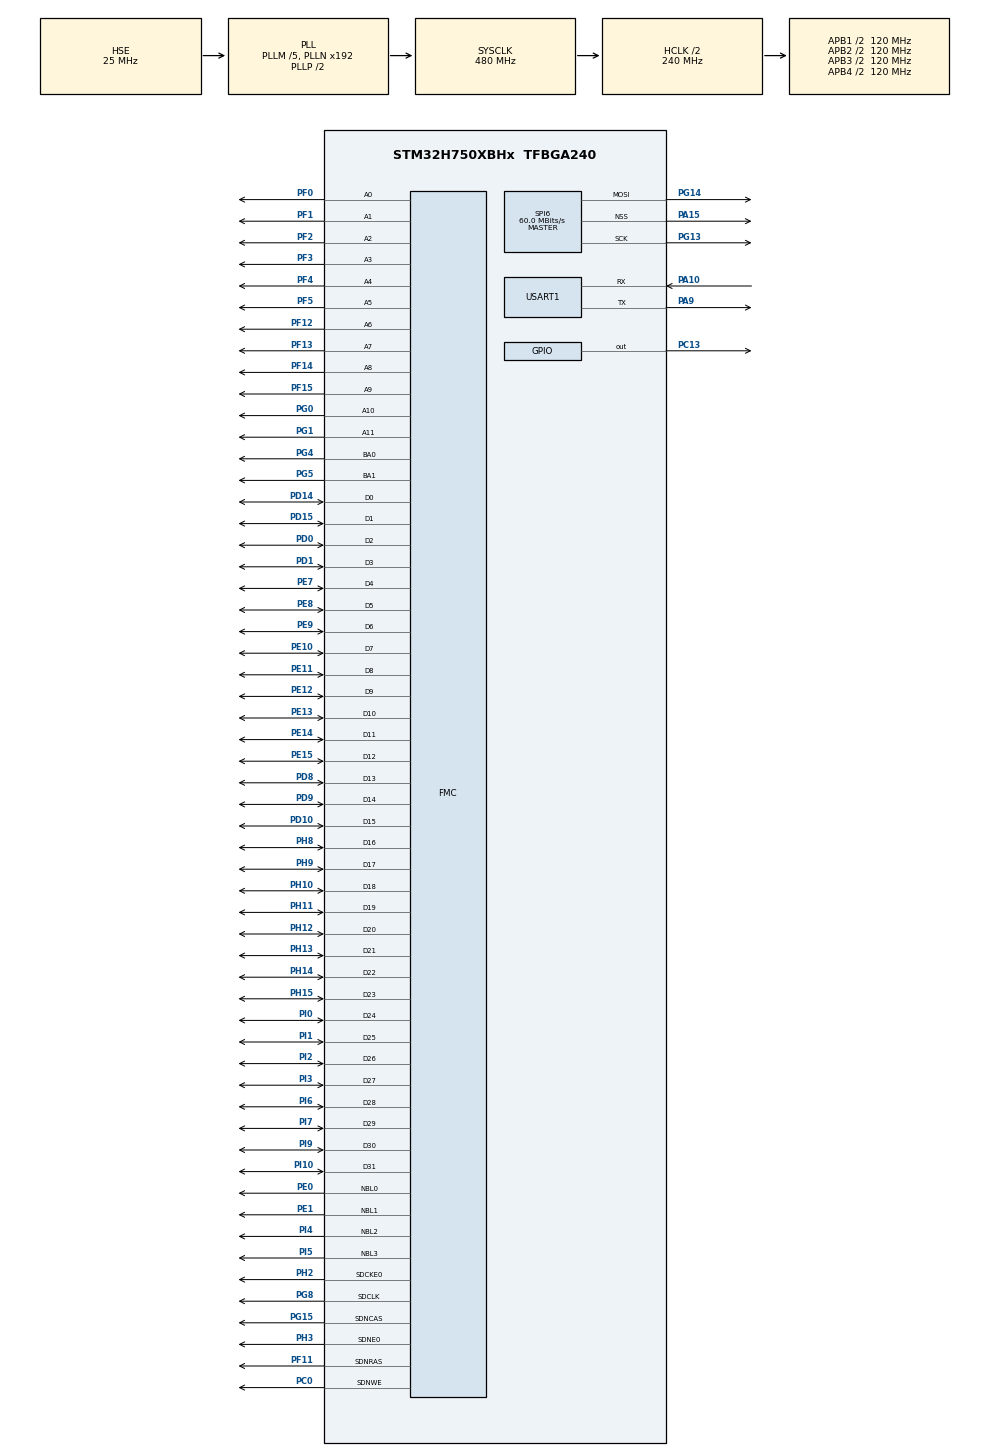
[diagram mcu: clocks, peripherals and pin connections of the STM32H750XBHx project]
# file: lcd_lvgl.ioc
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FMC.CASLatency1=FMC_SDRAM_CAS_LATENCY_3
FMC.ExitSelfRefreshDelay1=7
FMC.LoadToActiveDelay1=2
FMC.RCDDelay1=2
FMC.RPDelay1=2
FMC.RPDelay2=2
FMC.RowCycleDelay1=7
FMC.RowCycleDelay2=7
FMC.SDClockPeriod1=FMC_SDRAM_CLOCK_PERIOD_2
FMC.SDClockPeriod2=FMC_SDRAM_CLOCK_PERIOD_2
FMC.SelfRefreshTime1=4
FMC.WriteRecoveryTime1=3
FREERTOS.Tasks01=defaultTask,24,1024,StartDefaultTask,Default,NULL,Dynamic,NULL,NULL;base_lvgl_task,32,2048,lvgl_task,Default,NULL,Dynamic,NULL,NULL;lvgl_gui,25,2048,lvgl_gui1,Default,NULL,Dynamic,NULL,NULL
FREERTOS.configTOTAL_HEAP_SIZE=30720
FREERTOS.configUSE_TICK_HOOK=1
Mcu.Family=STM32H7
Mcu.Name=STM32H750XBHx
Mcu.Package=TFBGA240
NVIC.PriorityGroup=NVIC_PRIORITYGROUP_4
NVIC.TIM1_UP_IRQn=true\:15\:0\:false\:false\:true\:false\:false\:true\:true
NVIC.TimeBase=TIM1_UP_IRQn
NVIC.TimeBaseIP=TIM1
PA10.GPIO_Speed=GPIO_SPEED_FREQ_VERY_HIGH
PA10.Mode=Asynchronous
PA10.Signal=USART1_RX
PA15\ (JTDI).GPIO_Speed=GPIO_SPEED_FREQ_VERY_HIGH
PA15\ (JTDI).Mode=NSS_Signal_Hard_Output
PA15\ (JTDI).Signal=SPI6_NSS
PA9.GPIO_Speed=GPIO_SPEED_FREQ_VERY_HIGH
PA9.Mode=Asynchronous
PA9.Signal=USART1_TX
PC0.Signal=FMC_SDNWE
PC13.Signal=GPIO_Output
PD0.Signal=FMC_D2_DA2
PD1.Signal=FMC_D3_DA3
PD10.Signal=FMC_D15_DA15
PD14.Signal=FMC_D0_DA0
PD15.Signal=FMC_D1_DA1
PD8.Signal=FMC_D13_DA13
PD9.Signal=FMC_D14_DA14
PE0.Signal=FMC_NBL0
PE1.Signal=FMC_NBL1
PE10.Signal=FMC_D7_DA7
PE11.Signal=FMC_D8_DA8
PE12.Signal=FMC_D9_DA9
PE13.Signal=FMC_D10_DA10
PE14.Signal=FMC_D11_DA11
PE15.Signal=FMC_D12_DA12
PE7.Signal=FMC_D4_DA4
PE8.Signal=FMC_D5_DA5
PE9.Signal=FMC_D6_DA6
PF0.Signal=FMC_A0
PF1.Signal=FMC_A1
PF11.Signal=FMC_SDNRAS
PF12.Signal=FMC_A6
PF13.Signal=FMC_A7
PF14.Signal=FMC_A8
PF15.Signal=FMC_A9
PF2.Signal=FMC_A2
PF3.Signal=FMC_A3
PF4.Signal=FMC_A4
PF5.Signal=FMC_A5
PG0.Signal=FMC_A10
PG1.Signal=FMC_A11
PG13.GPIO_Speed=GPIO_SPEED_FREQ_VERY_HIGH
PG13.Mode=TX_Only_Simplex_Unidirect_Master
PG13.Signal=SPI6_SCK
PG14.GPIO_Speed=GPIO_SPEED_FREQ_VERY_HIGH
PG14.Mode=TX_Only_Simplex_Unidirect_Master
PG14.Signal=SPI6_MOSI
PG15.Signal=FMC_SDNCAS
PG4.Signal=FMC_A14_BA0
PG5.Signal=FMC_A15_BA1
PG8.Signal=FMC_SDCLK
PH0-OSC_IN\ (PH0).Mode=HSE-External-Oscillator
PH0-OSC_IN\ (PH0).Signal=RCC_OSC_IN
PH1-OSC_OUT\ (PH1).Mode=HSE-External-Oscillator
PH1-OSC_OUT\ (PH1).Signal=RCC_OSC_OUT
PH10.Signal=FMC_D18
PH11.Signal=FMC_D19
PH12.Signal=FMC_D20
PH13.Signal=FMC_D21
PH14.Signal=FMC_D22
PH15.Signal=FMC_D23
PH2.Mode=SdramChipSelect1_1
PH2.Signal=FMC_SDCKE0
PH3.Mode=SdramChipSelect1_1
PH3.Signal=FMC_SDNE0
PH8.Signal=FMC_D16
PH9.Signal=FMC_D17
PI0.Signal=FMC_D24
PI1.Signal=FMC_D25
PI10.Signal=FMC_D31
PI2.Signal=FMC_D26
PI3.Signal=FMC_D27
PI4.Signal=FMC_NBL2
PI5.Signal=FMC_NBL3
PI6.Signal=FMC_D28
PI7.Signal=FMC_D29
PI9.Signal=FMC_D30
ProjectManager.HeapSize=0x200
ProjectManager.StackSize=0x400
ProjectManager.TargetToolchain=CMake
RCC.ADCFreq_Value=50390625
RCC.APB1Freq_Value=120000000
RCC.APB2Freq_Value=120000000
RCC.APB3Freq_Value=120000000
RCC.APB4Freq_Value=120000000
RCC.CortexFreq_Value=480000000
RCC.D1PPRE=RCC_APB3_DIV2
RCC.D2PPRE1=RCC_APB1_DIV2
RCC.D2PPRE2=RCC_APB2_DIV2
RCC.D3PPRE=RCC_APB4_DIV2
RCC.DIVM1=5
RCC.DIVN1=192
RCC.HCLKFreq_Value=240000000
RCC.HPRE=RCC_HCLK_DIV2
RCC.PLLSourceVirtual=RCC_PLLSOURCE_HSE
RCC.SYSCLKFreq_VALUE=480000000
RCC.SYSCLKSource=RCC_SYSCLKSOURCE_PLLCLK
RCC.USBFreq_Value=480000000
SH.FMC_A0.0=FMC_A0,12b-sda1
SH.FMC_A1.0=FMC_A1,12b-sda1
SH.FMC_A10.0=FMC_A10,12b-sda1
SH.FMC_A11.0=FMC_A11,12b-sda1
SH.FMC_A14_BA0.0=FMC_BA0,FourSdramBanks1
SH.FMC_A15_BA1.0=FMC_BA1,FourSdramBanks1
SH.FMC_A2.0=FMC_A2,12b-sda1
SH.FMC_A3.0=FMC_A3,12b-sda1
SH.FMC_A4.0=FMC_A4,12b-sda1
SH.FMC_A5.0=FMC_A5,12b-sda1
SH.FMC_A6.0=FMC_A6,12b-sda1
SH.FMC_A7.0=FMC_A7,12b-sda1
SH.FMC_A8.0=FMC_A8,12b-sda1
SH.FMC_A9.0=FMC_A9,12b-sda1
SH.FMC_D0_DA0.0=FMC_D0,sd-32b-d1
SH.FMC_D10_DA10.0=FMC_D10,sd-32b-d1
SH.FMC_D11_DA11.0=FMC_D11,sd-32b-d1
SH.FMC_D12_DA12.0=FMC_D12,sd-32b-d1
SH.FMC_D13_DA13.0=FMC_D13,sd-32b-d1
SH.FMC_D14_DA14.0=FMC_D14,sd-32b-d1
SH.FMC_D15_DA15.0=FMC_D15,sd-32b-d1
SH.FMC_D16.0=FMC_D16,sd-32b-d1
SH.FMC_D17.0=FMC_D17,sd-32b-d1
SH.FMC_D18.0=FMC_D18,sd-32b-d1
SH.FMC_D19.0=FMC_D19,sd-32b-d1
SH.FMC_D1_DA1.0=FMC_D1,sd-32b-d1
SH.FMC_D20.0=FMC_D20,sd-32b-d1
SH.FMC_D21.0=FMC_D21,sd-32b-d1
SH.FMC_D22.0=FMC_D22,sd-32b-d1
SH.FMC_D23.0=FMC_D23,sd-32b-d1
SH.FMC_D24.0=FMC_D24,sd-32b-d1
SH.FMC_D25.0=FMC_D25,sd-32b-d1
SH.FMC_D26.0=FMC_D26,sd-32b-d1
SH.FMC_D27.0=FMC_D27,sd-32b-d1
SH.FMC_D28.0=FMC_D28,sd-32b-d1
SH.FMC_D29.0=FMC_D29,sd-32b-d1
SH.FMC_D2_DA2.0=FMC_D2,sd-32b-d1
SH.FMC_D30.0=FMC_D30,sd-32b-d1
SH.FMC_D31.0=FMC_D31,sd-32b-d1
SH.FMC_D3_DA3.0=FMC_D3,sd-32b-d1
SH.FMC_D4_DA4.0=FMC_D4,sd-32b-d1
SH.FMC_D5_DA5.0=FMC_D5,sd-32b-d1
SH.FMC_D6_DA6.0=FMC_D6,sd-32b-d1
SH.FMC_D7_DA7.0=FMC_D7,sd-32b-d1
SH.FMC_D8_DA8.0=FMC_D8,sd-32b-d1
SH.FMC_D9_DA9.0=FMC_D9,sd-32b-d1
SH.FMC_NBL0.0=FMC_NBL0,Sd4ByteEnable1
SH.FMC_NBL1.0=FMC_NBL1,Sd4ByteEnable1
SH.FMC_NBL2.0=FMC_NBL2,Sd4ByteEnable1
SH.FMC_NBL3.0=FMC_NBL3,Sd4ByteEnable1
SH.FMC_SDCLK.0=FMC_SDCLK,12b-sda1
SH.FMC_SDNCAS.0=FMC_SDNCAS,12b-sda1
SH.FMC_SDNRAS.0=FMC_SDNRAS,12b-sda1
SH.FMC_SDNWE.0=FMC_SDNWE,12b-sda1
SPI6.CalculateBaudRate=60.0 MBits/s
SPI6.DataSize=SPI_DATASIZE_8BIT
SPI6.Direction=SPI_DIRECTION_2LINES_TXONLY
SPI6.FifoThreshold=SPI_FIFO_THRESHOLD_02DATA
SPI6.Mode=SPI_MODE_MASTER
SPI6.VirtualNSS=VM_NSSHARD
SPI6.VirtualType=VM_MASTER
USART1.VirtualMode-Asynchronous=VM_ASYNC
VP_FREERTOS_VS_CMSIS_V2.Mode=CMSIS_V2
VP_MEMORYMAP_VS_MEMORYMAP.Mode=CurAppReg
VP_SYS_VS_tim1.Mode=TIM1
board=custom

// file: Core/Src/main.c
/* USER CODE BEGIN Header */
/**
  ******************************************************************************
  * @file           : main.c
  * @brief          : Main program body
  ******************************************************************************
  * @attention
  *
  * Copyright (c) 2025 STMicroelectronics.
  * All rights reserved.
  *
  * This software is licensed under terms that can be found in the LICENSE file
  * in the root directory of this software component.
  * If no LICENSE file comes with this software, it is provided AS-IS.
  *
  ******************************************************************************
  */
/* USER CODE END Header */
#include "main.h"
#include "cmsis_os.h"
#include "memorymap.h"
#include "spi.h"
#include "usart.h"
#include "gpio.h"
#include "fmc.h"

/* USER CODE BEGIN Includes */
#include "lcd_fonts.h"
#include "lcd_image.h"
#include "lcd_spi_200.h"
#include "sdram.h"
#include "lcd_test.h"
/* USER CODE END Includes */

void SystemClock_Config(void);
void MX_FREERTOS_Init(void);

int main(void)
{

  /* USER CODE BEGIN 1 */
  SCB_EnableICache(); // 使能ICache
  SCB_EnableDCache(); // 使能DCache
  /* USER CODE END 1 */

  /* MCU Configuration--------------------------------------------------------*/

  /* Reset of all peripherals, Initializes the Flash interface and the Systick. */
  HAL_Init();

  /* Configure the system clock */
  SystemClock_Config();

  /* Initialize all configured peripherals */
  MX_GPIO_Init();
  MX_USART1_UART_Init();
  MX_SPI6_Init();
  MX_FMC_Init();
  /* USER CODE BEGIN 2 */

  SDRAM_Initialization_Sequence(&hsdram1); // SDRAM初始化
  SDRAM_Test(); // SDRAM测试
  SPI_LCD_Init(); // LCD初始化

  /* lcd测试函数 */
  LCD_Clear(); // 清屏
  LCD_Test_Clear();
  LCD_Test_Text();
  LCD_Test_Color();
  LCD_Test_Grahic();
  LCD_Test_Image();
  LCD_Test_Direction();
  LCD_Test_Variable();

  /* USER CODE END 2 */

  /* Init scheduler */
  osKernelInitialize();

  /* Call init function for freertos objects (in cmsis_os2.c) */
  MX_FREERTOS_Init();

  /* Start scheduler */
  osKernelStart();

  /* We should never get here as control is now taken by the scheduler */

  /* Infinite loop */
  while (1)
  {

  }
}

void SystemClock_Config(void)
{
  RCC_OscInitTypeDef RCC_OscInitStruct = {0};
  RCC_ClkInitTypeDef RCC_ClkInitStruct = {0};

  /** Supply configuration update enable
  */
  HAL_PWREx_ConfigSupply(PWR_LDO_SUPPLY);

  /** Configure the main internal regulator output voltage
  */
  __HAL_PWR_VOLTAGESCALING_CONFIG(PWR_REGULATOR_VOLTAGE_SCALE1);

  while(!__HAL_PWR_GET_FLAG(PWR_FLAG_VOSRDY)) {}

  __HAL_RCC_SYSCFG_CLK_ENABLE();
  __HAL_PWR_VOLTAGESCALING_CONFIG(PWR_REGULATOR_VOLTAGE_SCALE0);

  while(!__HAL_PWR_GET_FLAG(PWR_FLAG_VOSRDY)) {}

  /** Initializes the RCC Oscillators according to the specified parameters
  * in the RCC_OscInitTypeDef structure.
  */
  RCC_OscInitStruct.OscillatorType = RCC_OSCILLATORTYPE_HSE;
  RCC_OscInitStruct.HSEState = RCC_HSE_ON;
  RCC_OscInitStruct.PLL.PLLState = RCC_PLL_ON;
  RCC_OscInitStruct.PLL.PLLSource = RCC_PLLSOURCE_HSE;
  RCC_OscInitStruct.PLL.PLLM = 5;
  RCC_OscInitStruct.PLL.PLLN = 192;
  RCC_OscInitStruct.PLL.PLLP = 2;
  RCC_OscInitStruct.PLL.PLLQ = 2;
  RCC_OscInitStruct.PLL.PLLR = 2;
  RCC_OscInitStruct.PLL.PLLRGE = RCC_PLL1VCIRANGE_2;
  RCC_OscInitStruct.PLL.PLLVCOSEL = RCC_PLL1VCOWIDE;
  RCC_OscInitStruct.PLL.PLLFRACN = 0;
  if (HAL_RCC_OscConfig(&RCC_OscInitStruct) != HAL_OK)
  {
    Error_Handler();
  }

  /** Initializes the CPU, AHB and APB buses clocks
  */
  RCC_ClkInitStruct.ClockType = RCC_CLOCKTYPE_HCLK|RCC_CLOCKTYPE_SYSCLK
                              |RCC_CLOCKTYPE_PCLK1|RCC_CLOCKTYPE_PCLK2
                              |RCC_CLOCKTYPE_D3PCLK1|RCC_CLOCKTYPE_D1PCLK1;
  RCC_ClkInitStruct.SYSCLKSource = RCC_SYSCLKSOURCE_PLLCLK;
  RCC_ClkInitStruct.SYSCLKDivider = RCC_SYSCLK_DIV1;
  RCC_ClkInitStruct.AHBCLKDivider = RCC_HCLK_DIV2;
  RCC_ClkInitStruct.APB3CLKDivider = RCC_APB3_DIV2;
  RCC_ClkInitStruct.APB1CLKDivider = RCC_APB1_DIV2;
  RCC_ClkInitStruct.APB2CLKDivider = RCC_APB2_DIV2;
  RCC_ClkInitStruct.APB4CLKDivider = RCC_APB4_DIV2;

  if (HAL_RCC_ClockConfig(&RCC_ClkInitStruct, FLASH_LATENCY_4) != HAL_OK)
  {
    Error_Handler();
  }
}

void HAL_TIM_PeriodElapsedCallback(TIM_HandleTypeDef *htim)
{
  if (htim->Instance == TIM1) {
    HAL_IncTick();
  }
}

void Error_Handler(void)
{
  __disable_irq();
  while (1)
  {
  }
}
